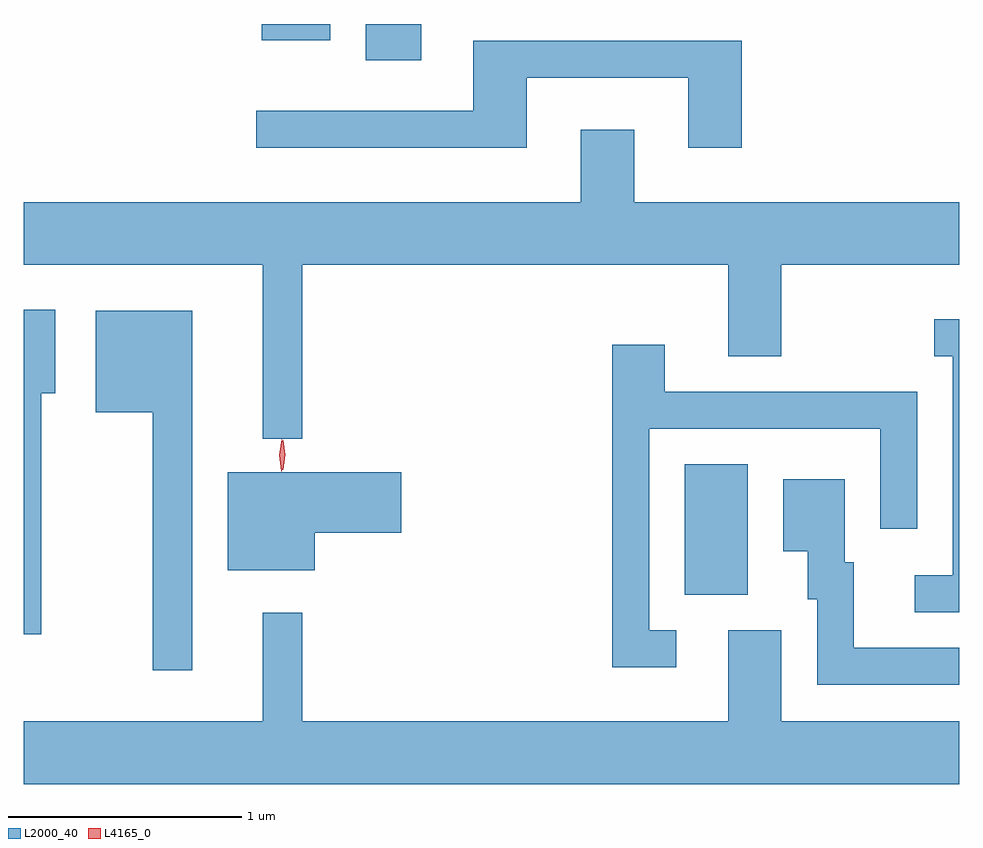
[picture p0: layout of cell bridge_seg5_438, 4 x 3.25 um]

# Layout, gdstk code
import gdstk
lib = gdstk.Library(unit=1e-6, precision=1e-09)
def R(c, l, rs):  # rectangles x0, y0, x1, y1
    for r in rs: c.add(gdstk.rectangle(r[:2], r[2:], *l))
def P(c, l, *ps):  # polygons
    for p in ps: c.add(gdstk.Polygon(p, *l))
L2000_40 = (2000, 40)
L4165_0 = (4165, 0)

bridge_seg5_438 = lib.new_cell('bridge_seg5_438')
R(bridge_seg5_438, L2000_40, [(263.696,1517.546,263.964,1518.104), (262.331,1519.831,262.568,1519.986), (261.886,1519.916,262.179,1519.986)])
P(bridge_seg5_438, L2000_40, [(263.019,1519.756),(263.711,1519.756),(263.711,1519.456),(263.939,1519.456),(263.939,1519.914),(262.791,1519.914),(262.791,1519.614),(261.863,1519.614),(261.863,1519.456),(263.019,1519.456)],
  [(262.059,1518.956),(263.881,1518.956),(263.881,1518.566),(264.109,1518.566),(264.109,1518.956),(264.869,1518.956),(264.869,1519.224),(263.479,1519.224),(263.479,1519.534),(263.251,1519.534),(263.251,1519.224),(260.869,1519.224),(260.869,1518.956),(261.891,1518.956),(261.891,1518.213),(262.059,1518.213)],
  [(260.944,1518.406),(261.004,1518.406),(261.004,1518.764),(260.869,1518.764),(260.869,1517.376),(260.944,1517.376)],
  [(261.589,1518.759),(261.176,1518.759),(261.176,1518.326),(261.421,1518.326),(261.421,1517.223),(261.589,1517.223)],
  [(264.869,1518.724),(264.763,1518.724),(264.763,1518.566),(264.841,1518.566),(264.841,1517.629),(264.678,1517.629),(264.678,1517.471),(264.869,1517.471)],
  [(263.658,1517.394),(263.544,1517.394),(263.544,1518.256),(264.531,1518.256),(264.531,1517.828),(264.689,1517.828),(264.689,1518.414),(263.609,1518.414),(263.609,1518.614),(263.386,1518.614),(263.386,1517.236),(263.658,1517.236)],
  [(262.114,1517.811),(262.484,1517.811),(262.484,1518.069),(261.741,1518.069),(261.741,1517.651),(262.114,1517.651)],
  [(264.869,1517.319),(264.419,1517.319),(264.419,1517.684),(264.379,1517.684),(264.379,1518.039),(264.116,1518.039),(264.116,1517.731),(264.221,1517.731),(264.221,1517.526),(264.261,1517.526),(264.261,1517.161),(264.869,1517.161)],
  [(264.869,1517.004),(264.109,1517.004),(264.109,1517.394),(263.881,1517.394),(263.881,1517.004),(262.059,1517.004),(262.059,1517.468),(261.891,1517.468),(261.891,1517.004),(260.869,1517.004),(260.869,1516.736),(264.869,1516.736)])
P(bridge_seg5_438, L4165_0, [(261.977,1518.08),(261.968,1518.144),(261.977,1518.206),(261.978,1518.207),(261.978,1518.206),(261.988,1518.144),(261.978,1518.08),(261.978,1518.08)],
  [(261.97,1518.074),(261.962,1518.142),(261.972,1518.21),(261.972,1518.21),(261.973,1518.21),(261.982,1518.142),(261.971,1518.074),(261.971,1518.074)])

lib.write_gds('bridge_seg5_438.gds')
